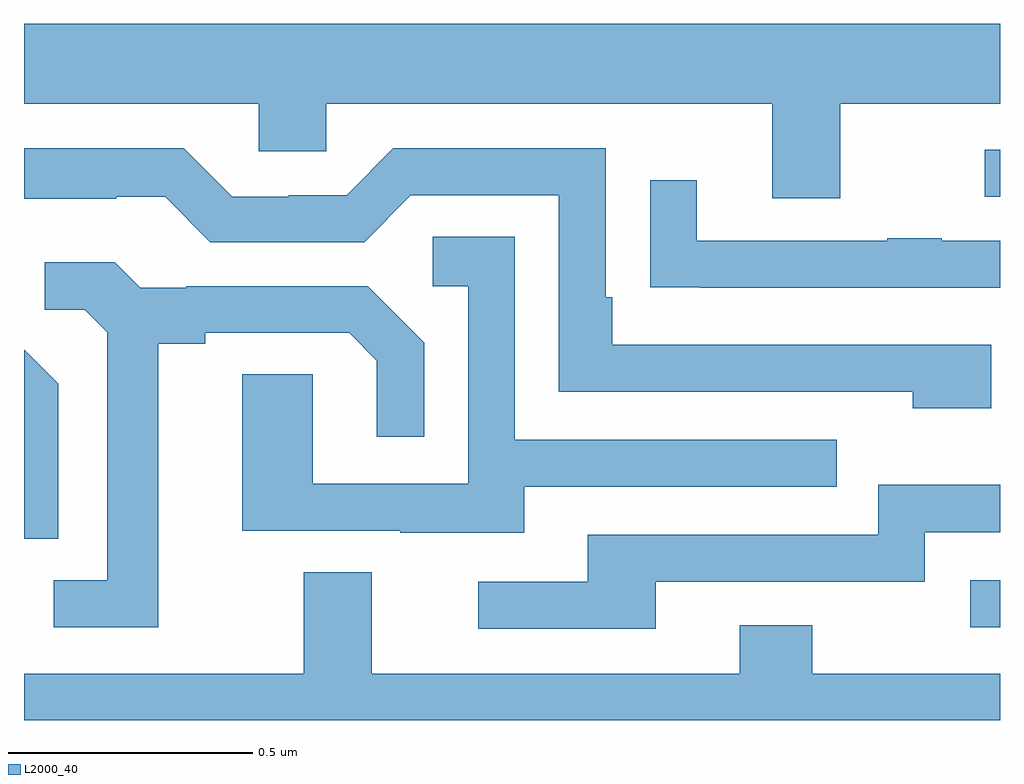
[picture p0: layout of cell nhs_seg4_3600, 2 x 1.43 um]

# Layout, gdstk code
import gdstk
lib = gdstk.Library(unit=1e-6, precision=1e-09)
def R(c, l, rs):  # rectangles x0, y0, x1, y1
    for r in rs: c.add(gdstk.rectangle(r[:2], r[2:], *l))
def P(c, l, *ps):  # polygons
    for p in ps: c.add(gdstk.Polygon(p, *l))
L2000_40 = (2000, 40)

nhs_seg4_3600 = lib.new_cell('nhs_seg4_3600')
R(nhs_seg4_3600, L2000_40, [(156.939,785.091,157,785.187), (156.969,785.973,157,786.069)])
P(nhs_seg4_3600, L2000_40, [(156.673,786.164),(157,786.164),(157,786.328),(155,786.328),(155,786.164),(155.481,786.164),(155.481,786.066),(155.619,786.066),(155.619,786.164),(156.533,786.164),(156.533,785.97),(156.673,785.97)],
  [(156.982,785.67),(156.205,785.67),(156.205,785.767),(156.192,785.767),(156.192,786.072),(155.757,786.072),(155.661,785.976),(155.543,785.976),(155.543,785.973),(155.427,785.973),(155.327,786.073),(155,786.073),(155,785.969),(155.189,785.969),(155.189,785.973),(155.289,785.973),(155.382,785.88),(155.697,785.88),(155.793,785.976),(156.096,785.976),(156.096,785.574),(156.821,785.574),(156.821,785.54),(156.982,785.54)],
  [(157,785.883),(156.881,785.883),(156.881,785.888),(156.769,785.888),(156.769,785.883),(156.379,785.883),(156.379,786.007),(156.283,786.007),(156.283,785.788),(156.385,785.788),(156.385,785.787),(157,785.787)],
  [(156.025,785.379),(156.665,785.379),(156.665,785.475),(156.006,785.475),(156.006,785.891),(155.838,785.891),(155.838,785.79),(155.91,785.79),(155.91,785.385),(155.592,785.385),(155.592,785.609),(155.447,785.609),(155.447,785.289),(155.771,785.289),(155.771,785.285),(156.025,785.285)],
  [(155.275,785.672),(155.371,785.672),(155.371,785.694),(155.666,785.694),(155.723,785.637),(155.723,785.481),(155.82,785.481),(155.82,785.674),(155.704,785.79),(155.332,785.79),(155.332,785.787),(155.238,785.787),(155.186,785.839),(155.043,785.839),(155.043,785.742),(155.124,785.742),(155.171,785.695),(155.171,785.187),(155.061,785.187),(155.061,785.091),(155.275,785.091)],
  [(155.07,785.59),(155,785.66),(155,785.272),(155.07,785.272)],
  [(156.295,785.184),(156.846,785.184),(156.846,785.286),(157,785.286),(157,785.383),(156.75,785.383),(156.75,785.28),(156.155,785.28),(156.155,785.184),(155.931,785.184),(155.931,785.088),(156.295,785.088)],
  [(157,784.996),(156.615,784.996),(156.615,785.095),(156.467,785.095),(156.467,784.996),(155.713,784.996),(155.713,785.204),(155.573,785.204),(155.573,784.996),(155,784.996),(155,784.9),(157,784.9)])

lib.write_gds('nhs_seg4_3600.gds')
